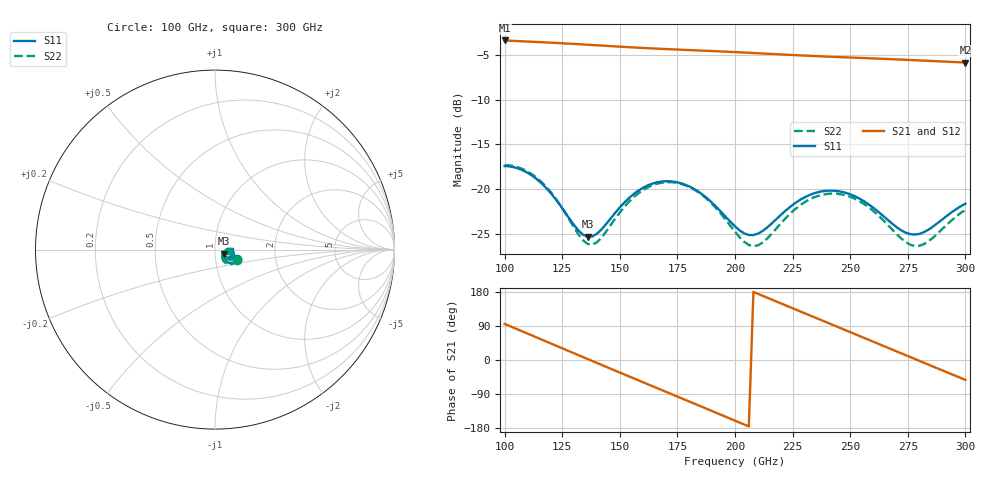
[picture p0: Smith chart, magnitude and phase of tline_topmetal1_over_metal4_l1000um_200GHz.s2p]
#  GHZ S DB R 50
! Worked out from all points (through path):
!   101 points, 100 GHz to 300 GHz, reference 50 ohm
!   highest |S21| = -3.38 dB at 100 GHz (marker M1); lowest = -5.8 dB at 300 GHz (marker M2)
!   group delay of S21, straight-line fit = 7.05 ps
!   lowest |S11| = -25.3 dB at 136 GHz (marker M3), VSWR 1.11, Z = 55.1 - j2.56 ohm
!   |S11| at or under -10 dB: start of sweep to end of sweep
!   |S22| runs from -26.4 to -17.3 dB; largest |S21 - S12| = 7.7e-14
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100  -17.42 -22.0  -3.38 95.2  -3.38 95.2  -17.31 -24.5
108  -17.91 -33.6  -3.48 74.7  -3.48 74.7  -17.77 -36.9
116  -19.34 -43.1  -3.57 54.1  -3.57 54.1  -19.20 -47.6
126  -22.50 -46.1  -3.71 28.4  -3.71 28.4  -22.53 -52.9
134  -25.08 -31.6  -3.82 7.8  -3.82 7.8  -25.70 -39.2
136  -25.32 -25.3  -3.85 2.7  -3.85 2.7  -26.12 -32.2
140  -24.99 -13.2  -3.91 -7.6  -3.91 -7.6  -25.96 -17.5
150  -22.04 -0.9  -4.07 -33.1  -4.07 -33.1  -22.60 -2.1
160  -19.85 -7.0  -4.21 -58.5  -4.21 -58.5  -20.11 -8.6
168  -19.15 -16.3  -4.31 -78.7  -4.31 -78.7  -19.28 -18.7
182  -19.94 -32.8  -4.47 -114.3  -4.47 -114.3  -20.00 -37.3
192  -22.01 -38.9  -4.58 -139.7  -4.58 -139.7  -22.18 -45.6
200  -24.17 -34.1  -4.68 -160.1  -4.68 -160.1  -24.76 -42.5
208  -25.13 -18.1  -4.78 179.6  -4.78 179.6  -26.37 -24.3
216  -23.82 -4.9  -4.89 159.3  -4.89 159.3  -24.96 -6.6
234  -20.49 -10.1  -5.11 113.9  -5.11 113.9  -20.94 -11.2
242  -20.16 -18.4  -5.20 93.8  -5.20 93.8  -20.49 -20.5
250  -20.58 -26.6  -5.28 73.6  -5.28 73.6  -20.85 -29.9
268  -23.80 -31.8  -5.47 28.1  -5.47 28.1  -24.45 -38.3
280  -25.00 -14.2  -5.61 -2.2  -5.61 -2.2  -26.33 -17.8
290  -23.38 -3.6  -5.73 -27.4  -5.73 -27.4  -24.44 -3.4
300  -21.62 -5.8  -5.84 -52.5  -5.84 -52.5  -22.30 -5.1
